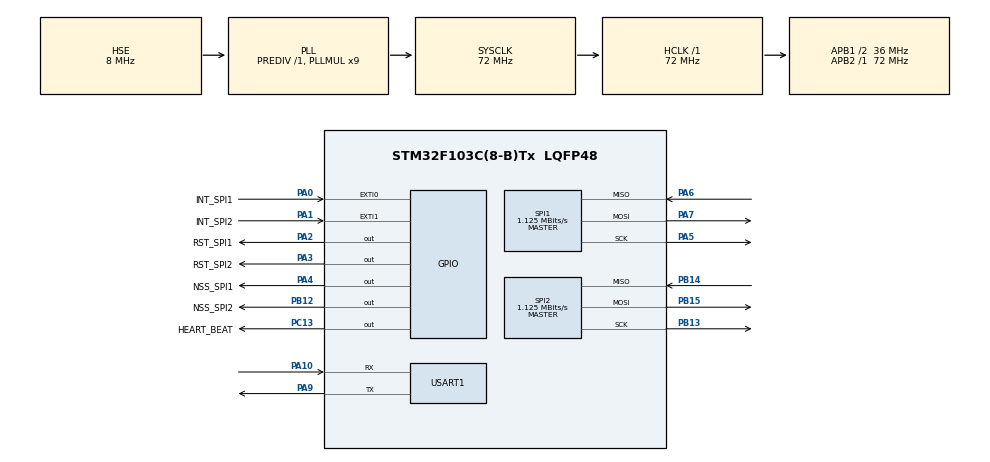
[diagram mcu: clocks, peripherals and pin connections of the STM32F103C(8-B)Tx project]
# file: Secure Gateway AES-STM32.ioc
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Dma.Request0=SPI1_RX
Dma.Request1=SPI1_TX
Dma.Request2=SPI2_RX
Dma.Request3=SPI2_TX
Dma.SPI1_RX.0.Direction=DMA_PERIPH_TO_MEMORY
Dma.SPI1_RX.0.Instance=DMA1_Channel2
Dma.SPI1_RX.0.MemDataAlignment=DMA_MDATAALIGN_BYTE
Dma.SPI1_RX.0.MemInc=DMA_MINC_ENABLE
Dma.SPI1_RX.0.Mode=DMA_NORMAL
Dma.SPI1_RX.0.PeriphDataAlignment=DMA_PDATAALIGN_BYTE
Dma.SPI1_RX.0.PeriphInc=DMA_PINC_DISABLE
Dma.SPI1_RX.0.Priority=DMA_PRIORITY_VERY_HIGH
Dma.SPI1_TX.1.Direction=DMA_MEMORY_TO_PERIPH
Dma.SPI1_TX.1.Instance=DMA1_Channel3
Dma.SPI1_TX.1.MemDataAlignment=DMA_MDATAALIGN_BYTE
Dma.SPI1_TX.1.MemInc=DMA_MINC_ENABLE
Dma.SPI1_TX.1.Mode=DMA_NORMAL
Dma.SPI1_TX.1.PeriphDataAlignment=DMA_PDATAALIGN_BYTE
Dma.SPI1_TX.1.PeriphInc=DMA_PINC_DISABLE
Dma.SPI1_TX.1.Priority=DMA_PRIORITY_HIGH
Dma.SPI2_RX.2.Direction=DMA_PERIPH_TO_MEMORY
Dma.SPI2_RX.2.Instance=DMA1_Channel4
Dma.SPI2_RX.2.MemDataAlignment=DMA_MDATAALIGN_BYTE
Dma.SPI2_RX.2.MemInc=DMA_MINC_ENABLE
Dma.SPI2_RX.2.Mode=DMA_NORMAL
Dma.SPI2_RX.2.PeriphDataAlignment=DMA_PDATAALIGN_BYTE
Dma.SPI2_RX.2.PeriphInc=DMA_PINC_DISABLE
Dma.SPI2_RX.2.Priority=DMA_PRIORITY_VERY_HIGH
Dma.SPI2_TX.3.Direction=DMA_MEMORY_TO_PERIPH
Dma.SPI2_TX.3.Instance=DMA1_Channel5
Dma.SPI2_TX.3.MemDataAlignment=DMA_MDATAALIGN_BYTE
Dma.SPI2_TX.3.MemInc=DMA_MINC_ENABLE
Dma.SPI2_TX.3.Mode=DMA_NORMAL
Dma.SPI2_TX.3.PeriphDataAlignment=DMA_PDATAALIGN_BYTE
Dma.SPI2_TX.3.PeriphInc=DMA_PINC_DISABLE
Dma.SPI2_TX.3.Priority=DMA_PRIORITY_HIGH
FREERTOS.Queues01=xRX_Queue,6,uint32_t,0,Static,xRX_QueueBuffer,xRX_QueueControlBlock;xTX_SPI1_Queue,2,uint32_t,0,Static,xTX_SPI1_QueueBuffer,xTX_QueueControlBlock;xTX_SPI2_Queue,2,uint32_t,0,Static,xTX_SPI2_QueueBuffer,xTX_SPI2_QueueControlBlock
FREERTOS.Tasks01=defaultTask,-2,128,StartDefaultTask,Default,NULL,Dynamic,NULL,NULL;vRX_SPI1_Task,2,256,vRX_SPI1_TaskFunc,Default,NULL,Static,vRX_SPI1_TaskBuffer,vRX_SPI1_TaskControlBlock;vRX_SPI2_Task,2,256,vRX_SPI2_TaskFunc,Default,NULL,Static,vRX_SPI2_TaskBuffer,vRX_SPI2_TaskControlBlock;vTX_SPI1_Task,1,256,vTX_SPI1_TaskFunc,Default,NULL,Static,vTX_TaskBuffer,vTX_TaskControlBlock;vPacket_Processing_Task,0,512,vPacket_Processing_TaskFunc,Default,NULL,Static,vPacket_Processing_TaskBuffer,vPacket_Processing_TaskControlBlock;vHearbeat_Task,-2,128,vHeartbeat_TaskFunc,Default,NULL,Static,vHearbeat_TaskBuffer,vHearbeat_TaskControlBlock;vTX_SPI2_Task,1,256,vTX_SPI2_TaskFunc,Default,NULL,Static,vTX_SPI2_TaskBuffer,vTX_SPI2_TaskControlBlock
FREERTOS.configMAX_PRIORITIES=7
FREERTOS.configMAX_TASK_NAME_LEN=30
FREERTOS.configTOTAL_HEAP_SIZE=1024
FREERTOS.configUSE_NEWLIB_REENTRANT=1
IWDG.Prescaler=IWDG_PRESCALER_64
IWDG.Reload=1874
Mcu.Family=STM32F1
Mcu.Name=STM32F103C(8-B)Tx
Mcu.Package=LQFP48
NVIC.DMA1_Channel2_IRQn=true\:5\:0\:true\:false\:true\:true\:false\:true\:true
NVIC.DMA1_Channel3_IRQn=true\:6\:0\:true\:false\:true\:true\:false\:true\:true
NVIC.DMA1_Channel4_IRQn=true\:5\:0\:false\:false\:true\:true\:false\:true\:true
NVIC.DMA1_Channel5_IRQn=true\:6\:0\:true\:false\:true\:true\:false\:true\:true
NVIC.EXTI0_IRQn=true\:5\:0\:false\:false\:true\:true\:true\:true\:true
NVIC.EXTI1_IRQn=true\:5\:0\:false\:false\:true\:true\:true\:true\:true
NVIC.PriorityGroup=NVIC_PRIORITYGROUP_4
NVIC.TIM4_IRQn=true\:15\:0\:true\:false\:true\:false\:false\:true\:true
NVIC.TimeBase=TIM4_IRQn
NVIC.TimeBaseIP=TIM4
PA0-WKUP.GPIO_Label=INT_SPI1
PA0-WKUP.GPIO_ModeDefaultEXTI=GPIO_MODE_IT_FALLING
PA0-WKUP.GPIO_PuPd=GPIO_PULLUP
PA0-WKUP.Signal=GPXTI0
PA1.GPIO_Label=INT_SPI2
PA1.GPIO_ModeDefaultEXTI=GPIO_MODE_IT_FALLING
PA1.GPIO_PuPd=GPIO_PULLUP
PA1.Signal=GPXTI1
PA10.Mode=Asynchronous
PA10.Signal=USART1_RX
PA13.Mode=Serial_Wire
PA13.Signal=SYS_JTMS-SWDIO
PA14.Mode=Serial_Wire
PA14.Signal=SYS_JTCK-SWCLK
PA2.GPIO_Label=RST_SPI1
PA2.PinState=GPIO_PIN_SET
PA2.Signal=GPIO_Output
PA3.GPIO_Label=RST_SPI2
PA3.PinState=GPIO_PIN_SET
PA3.Signal=GPIO_Output
PA4.GPIO_Label=NSS_SPI1
PA4.PinState=GPIO_PIN_SET
PA4.Signal=GPIO_Output
PA5.Mode=Full_Duplex_Master
PA5.Signal=SPI1_SCK
PA6.Mode=Full_Duplex_Master
PA6.Signal=SPI1_MISO
PA7.Mode=Full_Duplex_Master
PA7.Signal=SPI1_MOSI
PA9.Mode=Asynchronous
PA9.Signal=USART1_TX
PB12.GPIO_Label=NSS_SPI2
PB12.PinState=GPIO_PIN_SET
PB12.Signal=GPIO_Output
PB13.Mode=Full_Duplex_Master
PB13.Signal=SPI2_SCK
PB14.Mode=Full_Duplex_Master
PB14.Signal=SPI2_MISO
PB15.Mode=Full_Duplex_Master
PB15.Signal=SPI2_MOSI
PC13-TAMPER-RTC.GPIO_Label=HEART_BEAT
PC13-TAMPER-RTC.PinState=GPIO_PIN_SET
PC13-TAMPER-RTC.Signal=GPIO_Output
PD0-OSC_IN.Mode=HSE-External-Oscillator
PD0-OSC_IN.Signal=RCC_OSC_IN
PD1-OSC_OUT.Mode=HSE-External-Oscillator
PD1-OSC_OUT.Signal=RCC_OSC_OUT
ProjectManager.HeapSize=0x200
ProjectManager.StackSize=0x400
ProjectManager.TargetToolchain=STM32CubeIDE
RCC.AHBFreq_Value=72000000
RCC.APB1CLKDivider=RCC_HCLK_DIV2
RCC.APB1Freq_Value=36000000
RCC.APB1TimFreq_Value=72000000
RCC.APB2Freq_Value=72000000
RCC.APB2TimFreq_Value=72000000
RCC.HCLKFreq_Value=72000000
RCC.PLLMUL=RCC_PLL_MUL9
RCC.PLLSourceVirtual=RCC_PLLSOURCE_HSE
RCC.SYSCLKFreq_VALUE=72000000
RCC.SYSCLKSource=RCC_SYSCLKSOURCE_PLLCLK
RCC.USBFreq_Value=72000000
SPI1.BaudRatePrescaler=SPI_BAUDRATEPRESCALER_64
SPI1.CalculateBaudRate=1.125 MBits/s
SPI1.Direction=SPI_DIRECTION_2LINES
SPI1.Mode=SPI_MODE_MASTER
SPI1.VirtualType=VM_MASTER
SPI2.BaudRatePrescaler=SPI_BAUDRATEPRESCALER_32
SPI2.CalculateBaudRate=1.125 MBits/s
SPI2.Direction=SPI_DIRECTION_2LINES
SPI2.Mode=SPI_MODE_MASTER
SPI2.VirtualType=VM_MASTER
USART1.VirtualMode=VM_ASYNC
VP_FREERTOS_VS_CMSIS_V1.Mode=CMSIS_V1
VP_IWDG_VS_IWDG.Mode=IWDG_Activate
VP_SYS_VS_tim4.Mode=TIM4
board=custom

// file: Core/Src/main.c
/* USER CODE BEGIN Header */
/**
  ******************************************************************************
  * @file           : main.c
  * @brief          : Main program body
  ******************************************************************************
  * @attention
  *
  * Copyright (c) 2026 STMicroelectronics.
  * All rights reserved.
  *
  * This software is licensed under terms that can be found in the LICENSE file
  * in the root directory of this software component.
  * If no LICENSE file comes with this software, it is provided AS-IS.
  *
  ******************************************************************************
  */
/* USER CODE END Header */
#include "main.h"
#include "cmsis_os.h"

/* USER CODE BEGIN Includes */
#include "enc28j60_driver.h"
#include "buffer_pool.h"
#include "aes.h"
#include "string.h"
#include "stdio.h"
#include "FreeRTOS.h"
#include "debug_log.h"
/* USER CODE END Includes */

/* USER CODE BEGIN PTD */
typedef struct {
	uint8_t ip[4];
	uint8_t key[16];
} IP_Key_Map;
/* USER CODE END PTD */

/* USER CODE BEGIN PD */
const IP_Key_Map key_table[] = {
		{{192, 168, 5, 2}, {0x00, 0x01, 0x02, 0x03, 0x04, 0x05, 0x06, 0x07, 0x08, 0x09, 0x0A, 0x0B, 0x0C, 0x0D, 0x0E, 0x0F}},
		{{192, 168, 5, 10}, {0x00, 0x10, 0x20, 0x30, 0x40, 0x50, 0x60, 0x70, 0x80, 0x90, 0xA0, 0xB0, 0xC0, 0xD0, 0xE0, 0xF0}}
};

#define KEY_TABLE_SIZE (sizeof(key_table)/sizeof(IP_Key_Map))

#define PAYLOAD_MAX_SIZE 512
#define RX_QUEUE_LENGTH 6
#define TX_QUEUE_LENGTH 4
#define RX_BURST_LIMIT 6
#define ETH_HEADER_LEN 14
#define ARP_MIN_FRAME_LEN 42
#define IPV4_MIN_FRAME_LEN 34
#define PKT_MIN_LEN 60

#define TASK_ALIVE_RX1 (1 << 0)
#define TASK_ALIVE_RX2 (1 << 1)
#define TASK_ALIVE_AES (1 << 2)
#define TASK_ALIVE_TX1 (1 << 3)
#define TASK_ALIVE_TX2 (1 << 4)

 #define TASK_ALIVE_ALL (TASK_ALIVE_RX1 | TASK_ALIVE_RX2 | TASK_ALIVE_AES | TASK_ALIVE_TX1 | TASK_ALIVE_TX2)
/* USER CODE END PD */

IWDG_HandleTypeDef hiwdg;

SPI_HandleTypeDef hspi1;
SPI_HandleTypeDef hspi2;
DMA_HandleTypeDef hdma_spi1_rx;
DMA_HandleTypeDef hdma_spi1_tx;
DMA_HandleTypeDef hdma_spi2_rx;
DMA_HandleTypeDef hdma_spi2_tx;

UART_HandleTypeDef huart1;

osThreadId defaultTaskHandle;
osThreadId vRX_SPI1_TaskHandle;
uint32_t vRX_SPI1_TaskBuffer[ 256 ];
osStaticThreadDef_t vRX_SPI1_TaskControlBlock;
osThreadId vRX_SPI2_TaskHandle;
uint32_t vRX_SPI2_TaskBuffer[ 256 ];
osStaticThreadDef_t vRX_SPI2_TaskControlBlock;
osThreadId vTX_SPI1_TaskHandle;
uint32_t vTX_TaskBuffer[ 256 ];
osStaticThreadDef_t vTX_TaskControlBlock;
osThreadId vPacket_Processing_TaskHandle;
uint32_t vPacket_Processing_TaskBuffer[ 512 ];
osStaticThreadDef_t vPacket_Processing_TaskControlBlock;
osThreadId vHearbeat_TaskHandle;
uint32_t vHearbeat_TaskBuffer[ 128 ];
osStaticThreadDef_t vHearbeat_TaskControlBlock;
osThreadId vTX_SPI2_TaskHandle;
uint32_t vTX_SPI2_TaskBuffer[ 256 ];
osStaticThreadDef_t vTX_SPI2_TaskControlBlock;
osMessageQId xRX_QueueHandle;
uint8_t xRX_QueueBuffer[ 6 * sizeof( uint32_t ) ];
osStaticMessageQDef_t xRX_QueueControlBlock;
osMessageQId xTX_SPI1_QueueHandle;
uint8_t xTX_SPI1_QueueBuffer[ 2 * sizeof( uint32_t ) ];
osStaticMessageQDef_t xTX_QueueControlBlock;
osMessageQId xTX_SPI2_QueueHandle;
uint8_t xTX_SPI2_QueueBuffer[ 2 * sizeof( uint32_t ) ];
osStaticMessageQDef_t xTX_SPI2_QueueControlBlock;
/* USER CODE BEGIN PV */
// Semaphore
osSemaphoreId xSem_DMA_SPI1_Done;
osSemaphoreId xSem_DMA_SPI2_Done;
osSemaphoreId xSem_INT_SPI1;
osSemaphoreId xSem_INT_SPI2;

// Mutex
osMutexId dev1_mutex;
osMutexId dev2_mutex;
osMutexId pool_mutex;
osMutexId uart_mutex;

// Alive flag
volatile uint8_t task_alive_flags = 0;
volatile uint8_t is_init_done = 0;

volatile uint32_t diag_rx1_packets = 0;
volatile uint32_t diag_rx2_packets = 0;
volatile uint32_t diag_tx1_packets = 0;
volatile uint32_t diag_tx2_packets = 0;
volatile uint32_t diag_arp_packets = 0;
volatile uint32_t diag_icmp_packets = 0;
volatile uint32_t diag_drop_packets = 0;
volatile uint32_t diag_link1_up = 0;
volatile uint32_t diag_link2_up = 0;
volatile uint32_t diag_arp_rx1 = 0;
volatile uint32_t diag_arp_rx2 = 0;
volatile uint32_t diag_icmp_rx1 = 0;
volatile uint32_t diag_icmp_rx2 = 0;
volatile uint32_t diag_arp1_opcode = 0;
volatile uint32_t diag_arp1_sender_ip = 0;
volatile uint32_t diag_arp1_target_ip = 0;
volatile uint32_t diag_arp2_opcode = 0;
volatile uint32_t diag_arp2_sender_ip = 0;
volatile uint32_t diag_arp2_target_ip = 0;

extern volatile uint32_t diag_enc_tx_fail_reason;
extern volatile uint32_t diag_enc_tx_abort;
extern volatile uint32_t diag_enc_tx_timeout;
extern volatile uint32_t diag_enc_fail_reason;
extern volatile uint32_t diag_enc_next_ptr;
extern volatile uint32_t diag_enc_rx_len;
extern volatile uint32_t diag_enc_rxstat;
/* USER CODE END PV */

void SystemClock_Config(void);
static void MX_GPIO_Init(void);
static void MX_DMA_Init(void);
static void MX_SPI1_Init(void);
static void MX_SPI2_Init(void);
static void MX_IWDG_Init(void);
static void MX_USART1_UART_Init(void);
void StartDefaultTask(void const * argument);
void vRX_SPI1_TaskFunc(void const * argument);
void vRX_SPI2_TaskFunc(void const * argument);
void vTX_SPI1_TaskFunc(void const * argument);
void vPacket_Processing_TaskFunc(void const * argument);
void vHeartbeat_TaskFunc(void const * argument);
void vTX_SPI2_TaskFunc(void const * argument);

/* USER CODE BEGIN PFP */
void RX_HandlePacket(ENC28J60_Config *dev, uint8_t source_dev);
void Update_Ip_Checksum(PacketBuffer *packet, uint8_t ip_header_length);
void User_Init(void);
int _write(int file, char *ptr, int len);
/* USER CODE END PFP */

/* USER CODE BEGIN 0 */
extern ENC28J60_Config dev1;
extern ENC28J60_Config dev2;

// Local MAC address
uint8_t mac1_addr[6] = {0x02, 0x00, 0x00, 0x00, 0x00, 0x01};
uint8_t mac2_addr[6] = {0x02, 0x00, 0x00, 0x00, 0x00, 0x02};

uint8_t link_down_count_dev1 = 0;
uint8_t link_down_count_dev2 = 0;

void RX_HandlePacket(ENC28J60_Config *dev, uint8_t source_spi) {
	// Request buffer from pool (if the pool is full, skip packet)
	PacketBuffer *buffer = BufferPool_Acquire();
	if (buffer == NULL) {
		diag_drop_packets++;
		// Read and discard packet from the chip
		LOG_W("dev%u: buffer pool EMPTY — packet dropped", source_spi);
		ENC28J60_DropPacket(dev);
		return;
	}

	// Read the packet from ENC28J60 to buffer
	uint16_t length = ENC28J60_ReceivePacket(dev, buffer->data, BUFFER_SIZE);

	if (length < PKT_MIN_LEN || length > BUFFER_SIZE) {
		diag_drop_packets++;
        LOG_W("dev%u: bad RX length=%u (min=%u max=%u) — dropped",
              source_spi, length, PKT_MIN_LEN, BUFFER_SIZE);
		BufferPool_Release(buffer);
		return;
	}

	// Write metadata into buffer
	buffer->length = length;
	buffer->source_spi = source_spi;
	if (source_spi == 1) {
		diag_rx1_packets++;
	} else if (source_spi == 2) {
		diag_rx2_packets++;
	}

	// Place the buffer pointer into xRX_Queue
	if (osMessagePut(xRX_QueueHandle, (uint32_t)buffer, 0) != osOK) {
		diag_drop_packets++;
		LOG_W("dev%u: RX queue FULL — packet len=%u dropped", source_spi, length);
		BufferPool_Release(buffer);
		return;
	}
	LOG_D("dev%u: RX len=%u OK", source_spi, length);
}

void Update_Ip_Checksum(PacketBuffer *packet, uint8_t ip_header_length) {
	  uint16_t udp_length = packet->length - 14 - ip_header_length;
	  uint16_t udp_length_offset = 14 + ip_header_length + 4;
	  // Update UDP Length
	  packet->data[udp_length_offset] = (uint8_t)((udp_length >> 8) & 0xFF);
	  packet->data[udp_length_offset + 1] = (uint8_t)(udp_length & 0xFF);

	  // Update the new total length into the header (offset 16-17)
	  uint16_t total_length = packet->length - 14; // Skip Ethernet header
	  packet->data[16] = (uint8_t)((total_length >> 8) & 0xFF);
	  packet->data[17] = (uint8_t)(total_length & 0xFF);

	  // Remove the old Checksum (offset 24-25)
	  packet->data[24] = 0x00;
	  packet->data[25] = 0x00;

	  // Calculate sum (16-bit)
	  uint32_t sum = 0;
	  for (int i = 14; i < 14 + ip_header_length; i += 2) {
		  sum += (packet->data[i] << 8) | packet->data[i + 1];
	  }

	  while (sum >> 16) {
		  sum = (sum & 0xFFFF) + (sum >> 16);
	  }

	  uint16_t final_checksum = (uint16_t)(~sum);
	  packet->data[24] = (final_checksum >> 8) & 0xFF;
	  packet->data[25] = final_checksum & 0xFF;

	  // UDP Checksum (Set to 0 to bypass)
	  uint16_t udp_checksum_offset = 14 + ip_header_length + 6;
	  packet->data[udp_checksum_offset] = 0x00;
	  packet->data[udp_checksum_offset + 1] = 0x00;
}

void User_Init() {
	// Initialize ENC28J60 1 and 2
	LOG_I("ENC28J60 #1 init...");
	uint8_t attempts = 0;
	while (ENC28J60_Init(&dev1, mac1_addr) == 0) {
		attempts++;
		LOG_W("ENC28J60 #1 init FAIL (attempt %u), retrying...", attempts);
		osDelay(100);
	}
    LOG_I("ENC28J60 #1 init OK (EREVID=%u)", ENC28J60_ReadReg(&dev1, EREVID));

    LOG_I("ENC28J60 #2 init...");
    attempts = 0;
	while (ENC28J60_Init(&dev2, mac2_addr) == 0) {
        attempts++;
        LOG_W("ENC28J60 #2 init FAIL (attempt %u), retrying...", attempts);
		osDelay(100);
	}
	LOG_I("ENC28J60 #2 init OK (EREVID=%u)", ENC28J60_ReadReg(&dev2, EREVID));

	BufferPool_Init();
	LOG_I("Buffer pool init OK (%u slots x %u bytes)", BUFFER_POOL_SIZE, BUFFER_SIZE);
}

int _write(int file, char *ptr, int len) {
	HAL_UART_Transmit(&huart1, (uint8_t*)ptr, len, HAL_MAX_DELAY);
	return len;
}
/* USER CODE END 0 */

int main(void)
{

  /* MCU Configuration--------------------------------------------------------*/

  /* Reset of all peripherals, Initializes the Flash interface and the Systick. */
  HAL_Init();

  /* USER CODE BEGIN Init */
  DebugLog_Init(&uart_mutex);
  /* USER CODE END Init */

  /* Configure the system clock */
  SystemClock_Config();

  /* Initialize all configured peripherals */
  MX_GPIO_Init();
  MX_DMA_Init();
  MX_SPI1_Init();
  MX_SPI2_Init();
  MX_IWDG_Init();
  MX_USART1_UART_Init();

  /* USER CODE BEGIN RTOS_MUTEX */
  /* add mutexes, ... */
  osMutexDef(dev1_mutex_def);
  osMutexDef(dev2_mutex_def);
  osMutexDef(pool_mutex_def);
  osMutexDef(uart_mutex_def);

  dev1_mutex = osMutexCreate(osMutex(dev1_mutex_def));
  dev2_mutex = osMutexCreate(osMutex(dev2_mutex_def));
  pool_mutex = osMutexCreate(osMutex(pool_mutex_def));
  uart_mutex = osMutexCreate(osMutex(uart_mutex_def));
  /* USER CODE END RTOS_MUTEX */

  /* USER CODE BEGIN RTOS_SEMAPHORES */
  osSemaphoreDef(xSem_DMA_SPI1_Done_Def);
  osSemaphoreDef(xSem_DMA_SPI2_Done_Def);
  osSemaphoreDef(xSem_INT_SPI1_Def);
  osSemaphoreDef(xSem_INT_SPI2_Def);

  xSem_DMA_SPI1_Done = osSemaphoreCreate(osSemaphore(xSem_DMA_SPI1_Done_Def), 1);
  xSem_DMA_SPI2_Done = osSemaphoreCreate(osSemaphore(xSem_DMA_SPI2_Done_Def), 1);
  xSem_INT_SPI1 = osSemaphoreCreate(osSemaphore(xSem_INT_SPI1_Def), 1);
  xSem_INT_SPI2 = osSemaphoreCreate(osSemaphore(xSem_INT_SPI2_Def), 1);
  /* USER CODE END RTOS_SEMAPHORES */

  /* Create the queue(s) */
  /* definition and creation of xRX_Queue */
  osMessageQStaticDef(xRX_Queue, 6, uint32_t, xRX_QueueBuffer, &xRX_QueueControlBlock);
  xRX_QueueHandle = osMessageCreate(osMessageQ(xRX_Queue), NULL);

  /* definition and creation of xTX_SPI1_Queue */
  osMessageQStaticDef(xTX_SPI1_Queue, 2, uint32_t, xTX_SPI1_QueueBuffer, &xTX_QueueControlBlock);
  xTX_SPI1_QueueHandle = osMessageCreate(osMessageQ(xTX_SPI1_Queue), NULL);

  /* definition and creation of xTX_SPI2_Queue */
  osMessageQStaticDef(xTX_SPI2_Queue, 2, uint32_t, xTX_SPI2_QueueBuffer, &xTX_SPI2_QueueControlBlock);
  xTX_SPI2_QueueHandle = osMessageCreate(osMessageQ(xTX_SPI2_Queue), NULL);

  /* Create the thread(s) */
  /* definition and creation of defaultTask */
  osThreadDef(defaultTask, StartDefaultTask, osPriorityLow, 0, 128);
  defaultTaskHandle = osThreadCreate(osThread(defaultTask), NULL);

  /* definition and creation of vRX_SPI1_Task */
  osThreadStaticDef(vRX_SPI1_Task, vRX_SPI1_TaskFunc, osPriorityHigh, 0, 256, vRX_SPI1_TaskBuffer, &vRX_SPI1_TaskControlBlock);
  vRX_SPI1_TaskHandle = osThreadCreate(osThread(vRX_SPI1_Task), NULL);

  /* definition and creation of vRX_SPI2_Task */
  osThreadStaticDef(vRX_SPI2_Task, vRX_SPI2_TaskFunc, osPriorityHigh, 0, 256, vRX_SPI2_TaskBuffer, &vRX_SPI2_TaskControlBlock);
  vRX_SPI2_TaskHandle = osThreadCreate(osThread(vRX_SPI2_Task), NULL);

  /* definition and creation of vTX_SPI1_Task */
  osThreadStaticDef(vTX_SPI1_Task, vTX_SPI1_TaskFunc, osPriorityAboveNormal, 0, 256, vTX_TaskBuffer, &vTX_TaskControlBlock);
  vTX_SPI1_TaskHandle = osThreadCreate(osThread(vTX_SPI1_Task), NULL);

  /* definition and creation of vPacket_Processing_Task */
  osThreadStaticDef(vPacket_Processing_Task, vPacket_Processing_TaskFunc, osPriorityNormal, 0, 512, vPacket_Processing_TaskBuffer, &vPacket_Processing_TaskControlBlock);
  vPacket_Processing_TaskHandle = osThreadCreate(osThread(vPacket_Processing_Task), NULL);

  /* definition and creation of vHearbeat_Task */
  osThreadStaticDef(vHearbeat_Task, vHeartbeat_TaskFunc, osPriorityLow, 0, 128, vHearbeat_TaskBuffer, &vHearbeat_TaskControlBlock);
  vHearbeat_TaskHandle = osThreadCreate(osThread(vHearbeat_Task), NULL);

  /* definition and creation of vTX_SPI2_Task */
  osThreadStaticDef(vTX_SPI2_Task, vTX_SPI2_TaskFunc, osPriorityAboveNormal, 0, 256, vTX_SPI2_TaskBuffer, &vTX_SPI2_TaskControlBlock);
  vTX_SPI2_TaskHandle = osThreadCreate(osThread(vTX_SPI2_Task), NULL);

  /* Start scheduler */
  osKernelStart();

  /* We should never get here as control is now taken by the scheduler */

  /* Infinite loop */
  while (1)
  {

  }
}

void SystemClock_Config(void)
{
  RCC_OscInitTypeDef RCC_OscInitStruct = {0};
  RCC_ClkInitTypeDef RCC_ClkInitStruct = {0};

  /** Initializes the RCC Oscillators according to the specified parameters
  * in the RCC_OscInitTypeDef structure.
  */
  RCC_OscInitStruct.OscillatorType = RCC_OSCILLATORTYPE_LSI|RCC_OSCILLATORTYPE_HSE;
  RCC_OscInitStruct.HSEState = RCC_HSE_ON;
  RCC_OscInitStruct.HSEPredivValue = RCC_HSE_PREDIV_DIV1;
  RCC_OscInitStruct.HSIState = RCC_HSI_ON;
  RCC_OscInitStruct.LSIState = RCC_LSI_ON;
  RCC_OscInitStruct.PLL.PLLState = RCC_PLL_ON;
  RCC_OscInitStruct.PLL.PLLSource = RCC_PLLSOURCE_HSE;
  RCC_OscInitStruct.PLL.PLLMUL = RCC_PLL_MUL9;
  if (HAL_RCC_OscConfig(&RCC_OscInitStruct) != HAL_OK)
  {
    Error_Handler();
  }

  /** Initializes the CPU, AHB and APB buses clocks
  */
  RCC_ClkInitStruct.ClockType = RCC_CLOCKTYPE_HCLK|RCC_CLOCKTYPE_SYSCLK
                              |RCC_CLOCKTYPE_PCLK1|RCC_CLOCKTYPE_PCLK2;
  RCC_ClkInitStruct.SYSCLKSource = RCC_SYSCLKSOURCE_PLLCLK;
  RCC_ClkInitStruct.AHBCLKDivider = RCC_SYSCLK_DIV1;
  RCC_ClkInitStruct.APB1CLKDivider = RCC_HCLK_DIV2;
  RCC_ClkInitStruct.APB2CLKDivider = RCC_HCLK_DIV1;

  if (HAL_RCC_ClockConfig(&RCC_ClkInitStruct, FLASH_LATENCY_2) != HAL_OK)
  {
    Error_Handler();
  }
}

static void MX_IWDG_Init(void)
{

  /* USER CODE BEGIN IWDG_Init 0 */
//
  /* USER CODE END IWDG_Init 0 */

  /* USER CODE BEGIN IWDG_Init 1 */
//
  /* USER CODE END IWDG_Init 1 */
  hiwdg.Instance = IWDG;
  hiwdg.Init.Prescaler = IWDG_PRESCALER_64;
  hiwdg.Init.Reload = 1874;
  if (HAL_IWDG_Init(&hiwdg) != HAL_OK)
  {
    Error_Handler();
  }
  /* USER CODE BEGIN IWDG_Init 2 */
//
  /* USER CODE END IWDG_Init 2 */

}

static void MX_SPI1_Init(void)
{

  /* SPI1 parameter configuration*/
  hspi1.Instance = SPI1;
  hspi1.Init.Mode = SPI_MODE_MASTER;
  hspi1.Init.Direction = SPI_DIRECTION_2LINES;
  hspi1.Init.DataSize = SPI_DATASIZE_8BIT;
  hspi1.Init.CLKPolarity = SPI_POLARITY_LOW;
  hspi1.Init.CLKPhase = SPI_PHASE_1EDGE;
  hspi1.Init.NSS = SPI_NSS_SOFT;
  hspi1.Init.BaudRatePrescaler = SPI_BAUDRATEPRESCALER_64;
  hspi1.Init.FirstBit = SPI_FIRSTBIT_MSB;
  hspi1.Init.TIMode = SPI_TIMODE_DISABLE;
  hspi1.Init.CRCCalculation = SPI_CRCCALCULATION_DISABLE;
  hspi1.Init.CRCPolynomial = 10;
  if (HAL_SPI_Init(&hspi1) != HAL_OK)
  {
    Error_Handler();
  }

}

static void MX_SPI2_Init(void)
{

  /* SPI2 parameter configuration*/
  hspi2.Instance = SPI2;
  hspi2.Init.Mode = SPI_MODE_MASTER;
  hspi2.Init.Direction = SPI_DIRECTION_2LINES;
  hspi2.Init.DataSize = SPI_DATASIZE_8BIT;
  hspi2.Init.CLKPolarity = SPI_POLARITY_LOW;
  hspi2.Init.CLKPhase = SPI_PHASE_1EDGE;
  hspi2.Init.NSS = SPI_NSS_SOFT;
  hspi2.Init.BaudRatePrescaler = SPI_BAUDRATEPRESCALER_32;
  hspi2.Init.FirstBit = SPI_FIRSTBIT_MSB;
  hspi2.Init.TIMode = SPI_TIMODE_DISABLE;
  hspi2.Init.CRCCalculation = SPI_CRCCALCULATION_DISABLE;
  hspi2.Init.CRCPolynomial = 10;
  if (HAL_SPI_Init(&hspi2) != HAL_OK)
  {
    Error_Handler();
  }

}

static void MX_USART1_UART_Init(void)
{

  huart1.Instance = USART1;
  huart1.Init.BaudRate = 115200;
  huart1.Init.WordLength = UART_WORDLENGTH_8B;
  huart1.Init.StopBits = UART_STOPBITS_1;
  huart1.Init.Parity = UART_PARITY_NONE;
  huart1.Init.Mode = UART_MODE_TX_RX;
  huart1.Init.HwFlowCtl = UART_HWCONTROL_NONE;
  huart1.Init.OverSampling = UART_OVERSAMPLING_16;
  if (HAL_UART_Init(&huart1) != HAL_OK)
  {
    Error_Handler();
  }

}

static void MX_DMA_Init(void)
{

  /* DMA controller clock enable */
  __HAL_RCC_DMA1_CLK_ENABLE();

  /* DMA interrupt init */
  /* DMA1_Channel2_IRQn interrupt configuration */
  HAL_NVIC_SetPriority(DMA1_Channel2_IRQn, 5, 0);
  HAL_NVIC_EnableIRQ(DMA1_Channel2_IRQn);
  /* DMA1_Channel3_IRQn interrupt configuration */
  HAL_NVIC_SetPriority(DMA1_Channel3_IRQn, 6, 0);
  HAL_NVIC_EnableIRQ(DMA1_Channel3_IRQn);
  /* DMA1_Channel4_IRQn interrupt configuration */
  HAL_NVIC_SetPriority(DMA1_Channel4_IRQn, 5, 0);
  HAL_NVIC_EnableIRQ(DMA1_Channel4_IRQn);
  /* DMA1_Channel5_IRQn interrupt configuration */
  HAL_NVIC_SetPriority(DMA1_Channel5_IRQn, 6, 0);
  HAL_NVIC_EnableIRQ(DMA1_Channel5_IRQn);

}

static void MX_GPIO_Init(void)
{
  GPIO_InitTypeDef GPIO_InitStruct = {0};

  /* GPIO Ports Clock Enable */
  __HAL_RCC_GPIOC_CLK_ENABLE();
  __HAL_RCC_GPIOD_CLK_ENABLE();
  __HAL_RCC_GPIOA_CLK_ENABLE();
  __HAL_RCC_GPIOB_CLK_ENABLE();

  /*Configure GPIO pin Output Level */
  HAL_GPIO_WritePin(HEART_BEAT_GPIO_Port, HEART_BEAT_Pin, GPIO_PIN_SET);

  /*Configure GPIO pin Output Level */
  HAL_GPIO_WritePin(GPIOA, RST_SPI1_Pin|RST_SPI2_Pin|NSS_SPI1_Pin, GPIO_PIN_SET);

  /*Configure GPIO pin Output Level */
  HAL_GPIO_WritePin(NSS_SPI2_GPIO_Port, NSS_SPI2_Pin, GPIO_PIN_SET);

  /*Configure GPIO pin : HEART_BEAT_Pin */
  GPIO_InitStruct.Pin = HEART_BEAT_Pin;
  GPIO_InitStruct.Mode = GPIO_MODE_OUTPUT_PP;
  GPIO_InitStruct.Pull = GPIO_NOPULL;
  GPIO_InitStruct.Speed = GPIO_SPEED_FREQ_LOW;
  HAL_GPIO_Init(HEART_BEAT_GPIO_Port, &GPIO_InitStruct);

  /*Configure GPIO pins : INT_SPI1_Pin INT_SPI2_Pin */
  GPIO_InitStruct.Pin = INT_SPI1_Pin|INT_SPI2_Pin;
  GPIO_InitStruct.Mode = GPIO_MODE_IT_FALLING;
  GPIO_InitStruct.Pull = GPIO_PULLUP;
  HAL_GPIO_Init(GPIOA, &GPIO_InitStruct);

  /*Configure GPIO pins : RST_SPI1_Pin RST_SPI2_Pin NSS_SPI1_Pin */
  GPIO_InitStruct.Pin = RST_SPI1_Pin|RST_SPI2_Pin|NSS_SPI1_Pin;
  GPIO_InitStruct.Mode = GPIO_MODE_OUTPUT_PP;
  GPIO_InitStruct.Pull = GPIO_NOPULL;
  GPIO_InitStruct.Speed = GPIO_SPEED_FREQ_LOW;
  HAL_GPIO_Init(GPIOA, &GPIO_InitStruct);

  /*Configure GPIO pin : NSS_SPI2_Pin */
  GPIO_InitStruct.Pin = NSS_SPI2_Pin;
  GPIO_InitStruct.Mode = GPIO_MODE_OUTPUT_PP;
  GPIO_InitStruct.Pull = GPIO_NOPULL;
  GPIO_InitStruct.Speed = GPIO_SPEED_FREQ_LOW;
  HAL_GPIO_Init(NSS_SPI2_GPIO_Port, &GPIO_InitStruct);

  /* EXTI interrupt init*/
  HAL_NVIC_SetPriority(EXTI0_IRQn, 5, 0);
  HAL_NVIC_EnableIRQ(EXTI0_IRQn);

  HAL_NVIC_SetPriority(EXTI1_IRQn, 5, 0);
  HAL_NVIC_EnableIRQ(EXTI1_IRQn);

}

void StartDefaultTask(void const * argument)
{
  /* USER CODE BEGIN 5 */
  /* Infinite loop */
  for(;;)
  {
    osDelay(10);
  }
  /* USER CODE END 5 */
}

void vRX_SPI1_TaskFunc(void const * argument)
{
  /* USER CODE BEGIN vRX_SPI1_TaskFunc */
	while (!is_init_done) {
		osDelay(10);
	}
  /* Infinite loop */
  for(;;)
  {
	  // Report to vHeartbeat_Task
//	  taskENTER_CRITICAL();
//	  task_alive_flags |= TASK_ALIVE_RX1;
//	  taskEXIT_CRITICAL();

	  // Wait for interrupt signal from the ENC28J60 1
	  osSemaphoreWait(xSem_INT_SPI1, 50);

	  /* There may be multiple packets in the ENC28J60 buffer -> Read maximum 6 packets before waiting for the next interrupt
	   * Because the ENC28J60 only sends an interrupt even if there are many packets
	   */
	  uint8_t rx_count = 0;

	  while (rx_count < RX_BURST_LIMIT) {
		  if (osMutexWait(dev1_mutex, 50) == osOK) {
			  if (ENC28J60_ReadReg(&dev1, EPKTCNT) > 0) {
				  RX_HandlePacket(&dev1, 1);
				  rx_count++;
				  osMutexRelease(dev1_mutex);
			  } else {
				  osMutexRelease(dev1_mutex);
				  break;
			  }
		  } else {
			  break;
		  }
	  }

	  if (rx_count == RX_BURST_LIMIT) {
	  	  if (osMutexWait(dev1_mutex, 10) == osOK) {
	  		  if (ENC28J60_ReadReg(&dev1, EPKTCNT) > 0) {
	  			  osSemaphoreRelease(xSem_INT_SPI1);
	  		  }
	  		  osMutexRelease(dev1_mutex);
	  	  }
	    }
	    osDelay(1);
  }
  /* USER CODE END vRX_SPI1_TaskFunc */
}

void vRX_SPI2_TaskFunc(void const * argument)
{
  /* USER CODE BEGIN vRX_SPI2_TaskFunc */
	while (!is_init_done) {
		osDelay(10);
	}
  /* Infinite loop */
  for(;;)
  {
//	  taskENTER_CRITICAL();
//	  task_alive_flags |= TASK_ALIVE_RX2;
//	  taskEXIT_CRITICAL();

	  osSemaphoreWait(xSem_INT_SPI2, 50);

	  uint8_t rx_count = 0;
	  while (rx_count < RX_BURST_LIMIT) {
		  if (osMutexWait(dev2_mutex, 50) == osOK) {
			  if (ENC28J60_ReadReg(&dev2, EPKTCNT) > 0) {
				  RX_HandlePacket(&dev2, 2);
				  rx_count++;
				  osMutexRelease(dev2_mutex);
			  } else {
				  osMutexRelease(dev2_mutex);
				  break;
			  }
		  } else {
			  break;
		  }
	  }

	  if (rx_count == RX_BURST_LIMIT) {
		  if (osMutexWait(dev2_mutex, 10) == osOK) {
			  if (ENC28J60_ReadReg(&dev2, EPKTCNT) > 0) {
				  osSemaphoreRelease(xSem_INT_SPI2);
			  }
			  osMutexRelease(dev2_mutex);
		  }
	  }
	  osDelay(1);
  }
  /* USER CODE END vRX_SPI2_TaskFunc */
}

void vTX_SPI1_TaskFunc(void const * argument)
{
  /* USER CODE BEGIN vTX_SPI1_TaskFunc */
	while (!is_init_done) {
		osDelay(10);
	}

	osEvent event;
	PacketBuffer *packet;
  /* Infinite loop */
  for(;;)
  {
//	  taskENTER_CRITICAL();
//	  task_alive_flags |= TASK_ALIVE_TX1;
//	  taskEXIT_CRITICAL();

	  event = osMessageGet(xTX_SPI1_QueueHandle, 50);
	  if (event.status == osEventMessage) {
		  packet = (PacketBuffer*)event.value.p;

		  if (osMutexWait(dev1_mutex, 50) == osOK) {
			  if (ENC28J60_SendPacket(&dev1, packet->data, packet->length)) {
				  diag_tx1_packets++;
			  } else {
				  diag_drop_packets++;
				  LOG_E("dev1 TX FAIL len=%u reason=%lu", packet->length, diag_enc_tx_fail_reason);
			  }
			  osMutexRelease(dev1_mutex);
		  }
		  BufferPool_Release(packet);
	  }
  }
  /* USER CODE END vTX_SPI1_TaskFunc */
}

void vPacket_Processing_TaskFunc(void const * argument)
{
  /* USER CODE BEGIN vPacket_Processing_TaskFunc */
	while (!is_init_done) {
		osDelay(10);
	}
	osEvent event;
	PacketBuffer *packet;
//	static AES_ctx ctx;
  /* Infinite loop */
  for(;;)
  {
//	  taskENTER_CRITICAL();
//	  task_alive_flags |= TASK_ALIVE_AES;
//	  taskEXIT_CRITICAL();

	  event = osMessageGet(xRX_QueueHandle, 50);
	  if (event.status == osEventMessage) {
		  packet = (PacketBuffer*)event.value.p;

		  // Step 1: Parse Ethernet header
		  // Read Ethernet type (offset 12-13)
		  uint16_t ethernet_type = (packet->data[12] << 8) | packet->data[13];

		  // Forward ARP packets
		  if (ethernet_type == 0x0806) {
			  diag_arp_packets++;
			  if (packet->source_spi == 1) {
				  diag_arp_rx1++;
				  diag_arp1_opcode = ((uint32_t)packet->data[20] << 8) | packet->data[21];
				  diag_arp1_sender_ip = ((uint32_t)packet->data[28] << 24) | ((uint32_t)packet->data[29] << 16) | ((uint32_t)packet->data[30] << 8) | packet->data[31];
				  diag_arp1_target_ip = ((uint32_t)packet->data[38] << 24) | ((uint32_t)packet->data[39] << 16) | ((uint32_t)packet->data[40] << 8) | packet->data[41];
			  } else if (packet->source_spi == 2) {
				  diag_arp_rx2++;
				  diag_arp2_opcode = ((uint32_t)packet->data[20] << 8) | packet->data[21];
				  diag_arp2_sender_ip = ((uint32_t)packet->data[28] << 24) | ((uint32_t)packet->data[29] << 16) | ((uint32_t)packet->data[30] << 8) | packet->data[31];
				  diag_arp2_target_ip = ((uint32_t)packet->data[38] << 24) | ((uint32_t)packet->data[39] << 16) | ((uint32_t)packet->data[40] << 8) | packet->data[41];
			  }
			  if (packet->source_spi == 1) {
				  if (osMessagePut(xTX_SPI2_QueueHandle, (uint32_t)packet, 50) != osOK) {
					  diag_drop_packets++;
					  BufferPool_Release(packet);
				  }
			  } else if (packet->source_spi == 2) {
				  if (osMessagePut(xTX_SPI1_QueueHandle, (uint32_t)packet, 50) != osOK) {
					  diag_drop_packets++;
					  BufferPool_Release(packet);
				  }
			  } else {
				  diag_drop_packets++;
				  BufferPool_Release(packet);
			  }
			  continue;
		  } else if (ethernet_type == 0x0800) { // IPv4
			  // Read Flags and Fragment offset (offset 20-21)
			  uint16_t flag_offset = (packet->data[20] << 8) | packet->data[21];

			  // Read protocol (offset 23)
			  uint8_t ip_protocol = packet->data[23];

			  uint16_t real_ip_length = (packet->data[16] << 8) | packet->data[17];
			  if (14 + real_ip_length < packet->length) {
				  packet->length = 14 + real_ip_length;
			  }

			  // Accept ICMP packets (ping)
			  if (ip_protocol == 0x01) {
				  diag_icmp_packets++;
				  if (packet->source_spi == 1) {
					  diag_icmp_rx1++;
				  } else if (packet->source_spi == 2) {
					  diag_icmp_rx2++;
				  }
				  if (packet->source_spi == 1) {
					  if (osMessagePut(xTX_SPI2_QueueHandle, (uint32_t)packet, 50) != osOK) {
						  diag_drop_packets++;
						  BufferPool_Release(packet);
					  }
				  } else if (packet->source_spi == 2) {
					  if (osMessagePut(xTX_SPI1_QueueHandle, (uint32_t)packet, 50) != osOK) {
						  diag_drop_packets++;
						  BufferPool_Release(packet);
					  }
				  } else {
					  diag_drop_packets++;
					  BufferPool_Release(packet);
				  }
				  continue;
			  }

			  // Remove packet if it is not a UDP packet or fragment
			  if (ip_protocol != 0x11 || (flag_offset & 0x3FFF) != 0) {
				  diag_drop_packets++;
				  LOG_D("drop: proto=0x%02X frag=0x%04X src=%u", ip_protocol, flag_offset, packet->source_spi);
				  BufferPool_Release(packet);
				  continue;
			  }
		  } else {
			  diag_drop_packets++;
			  BufferPool_Release(packet);
			  continue;
		  }

		  // Read IHL (Internet Header Length)
		  uint8_t ip_header_length = (packet->data[14] & 0x0F) << 2;
		  // Calculate the length of UDP header (Ethernet header (14), IP header, UDP header)
		  uint16_t udp_payload_offset = 14 + ip_header_length + 8;

		  if ((packet->length - udp_payload_offset) > PAYLOAD_MAX_SIZE || udp_payload_offset >= packet->length) {
			  diag_drop_packets++;
			  LOG_W("drop: UDP payload oor off=%u len=%u src=%u", udp_payload_offset, packet->length, packet->source_spi);
			  BufferPool_Release(packet);
			  continue;
		  }

		  // Step 2: Determine IP key by source
		  uint8_t *source_ip = &packet->data[26];
		  uint8_t *dest_ip = &packet->data[30];

		  uint8_t *found_key = NULL;
		  uint8_t dest_key_found = 0;
		  for (uint8_t i = 0; i < KEY_TABLE_SIZE; i++) {
			  if (memcmp(source_ip, key_table[i].ip, 4) == 0) {
				  found_key = (uint8_t*)key_table[i].key;
				  break;
			  }
		  }

		  for (uint8_t i = 0; i < KEY_TABLE_SIZE; i++) {
			  if (memcmp(dest_ip, key_table[i].ip, 4) == 0) {
				  dest_key_found = 1;
				  break;
			  }
		  }

		  if (found_key == NULL || dest_key_found == 0) {
			  diag_drop_packets++;
			  LOG_W("drop: key not found src_ip=%u.%u.%u.%u",
					 source_ip[0], source_ip[1], source_ip[2], source_ip[3]);
			  BufferPool_Release(packet);
			  continue;
		  }

		  // Step 3: Encrypt payload
//		  uint8_t iv[16] = {0}; // static Initialization Vector
//		  AES_init_ctx_iv(&ctx, found_key, iv);
//
//		  AES_CBC_PKCS7_Encrypt(&ctx, packet, udp_payload_offset);
//
//		  // Step 4: Recalculate checksum and length
//		  Update_Ip_Checksum(packet, ip_header_length);

		  // Step 5: Put into the xTX_Queue
		  if (packet->source_spi == 1) {
			  if (osMessagePut(xTX_SPI2_QueueHandle, (uint32_t)packet, 50) != osOK) {
				  diag_drop_packets++;
				  BufferPool_Release(packet);
			  }
		  } else if (packet->source_spi == 2) {
			  if (osMessagePut(xTX_SPI1_QueueHandle, (uint32_t)packet, 50) != osOK) {
				  diag_drop_packets++;
				  BufferPool_Release(packet);
			  }
		  } else {
			  diag_drop_packets++;
			  LOG_W("drop: TX%u queue full len=%u", (packet->source_spi==1)?2:1, packet->length);
			  BufferPool_Release(packet);
		  }
	  }
  }
  /* USER CODE END vPacket_Processing_TaskFunc */
}

void vHeartbeat_TaskFunc(void const * argument)
{
  /* USER CODE BEGIN vHeartbeat_TaskFunc */
	// HAL_IWDG_Refresh(&hiwdg);
	User_Init();
	LOG_I("Init complete — starting all tasks");
//	MX_IWDG_Init();
//	HAL_IWDG_Refresh(&hiwdg);

	is_init_done = 1;
    static uint8_t prev_link1 = 0xFF, prev_link2 = 0xFF;
    static uint32_t stats_tick = 0;
  /* Infinite loop */
  for(;;)
  {
//	  // Check the status of the Tasks
//	  if ((task_alive_flags & TASK_ALIVE_ALL) == TASK_ALIVE_ALL) {
//		  HAL_IWDG_Refresh(&hiwdg);
//		  taskENTER_CRITICAL();
//		  task_alive_flags = 0;
//		  taskEXIT_CRITICAL();
//	  }

	  // Blink heart led (PC13)
	  HAL_GPIO_TogglePin(HEART_BEAT_GPIO_Port, HEART_BEAT_Pin);

	  // Monitor the current link status of Module 1 (SPI1)
      if (osMutexWait(dev1_mutex, 50) == osOK) {
          uint16_t phstat2_1 = ENC28J60_ReadPhy(&dev1, PHSTAT2);
          uint8_t  link1_now = (phstat2_1 & PHSTAT2_LSTAT) ? 1 : 0;
          if (link1_now != prev_link1) {
              LOG_I("dev1 LINK %s", link1_now ? "UP" : "DOWN");
              prev_link1 = link1_now;
          }
          diag_link1_up = link1_now;
          if (!link1_now) {
              link_down_count_dev1++;
              if (link_down_count_dev1 >= 8) {
                  LOG_W("dev1 link down 4s — reinitializing...");
                  if (ENC28J60_Init(&dev1, mac1_addr) == 1) {
                      LOG_I("dev1 reinit OK");
                      link_down_count_dev1 = 0;
                  } else {
                      LOG_E("dev1 reinit FAIL");
                  }
              }
          } else {
              link_down_count_dev1 = 0;
          }
          osMutexRelease(dev1_mutex);
      }

	  // Monitor the current link status of Module 2 (SPI2)
      if (osMutexWait(dev2_mutex, 50) == osOK) {
          uint16_t phstat2_2 = ENC28J60_ReadPhy(&dev2, PHSTAT2);
          uint8_t  link2_now = (phstat2_2 & PHSTAT2_LSTAT) ? 1 : 0;
          if (link2_now != prev_link2) {
              LOG_I("dev2 LINK %s", link2_now ? "UP" : "DOWN");
              prev_link2 = link2_now;
          }
          diag_link2_up = link2_now;
          if (!link2_now) {
              link_down_count_dev2++;
              if (link_down_count_dev2 >= 8) {
                  LOG_W("dev2 link down 4s — reinitializing...");
                  if (ENC28J60_Init(&dev2, mac2_addr) == 1) {
                      LOG_I("dev2 reinit OK");
                      link_down_count_dev2 = 0;
                  } else {
                      LOG_E("dev2 reinit FAIL");
                  }
              }
          } else {
              link_down_count_dev2 = 0;
          }
          osMutexRelease(dev2_mutex);
      }

      if (HAL_GetTick() - stats_tick >= 5000) {
          stats_tick = HAL_GetTick();
          DebugLog_PrintStats();
      }

    osDelay(500);
  }
  /* USER CODE END vHeartbeat_TaskFunc */
}

void vTX_SPI2_TaskFunc(void const * argument)
{
  /* USER CODE BEGIN vTX_SPI2_TaskFunc */
	while (!is_init_done) {
		osDelay(10);
	}
	osEvent event;
	PacketBuffer *packet;
  /* Infinite loop */
  for(;;)
  {
//	  taskENTER_CRITICAL();
//	  task_alive_flags |= TASK_ALIVE_TX1;
//	  taskEXIT_CRITICAL();

	  event = osMessageGet(xTX_SPI2_QueueHandle, 50);
	  if (event.status == osEventMessage) {
		  packet = (PacketBuffer*)event.value.p;

		  if (osMutexWait(dev2_mutex, 50) == osOK) {
			  if (ENC28J60_SendPacket(&dev2, packet->data, packet->length)) {
				  diag_tx2_packets++;
			  } else {
				  diag_drop_packets++;
				  LOG_E("dev1 TX FAIL len=%u reason=%lu", packet->length, diag_enc_tx_fail_reason);
			  }
			  osMutexRelease(dev2_mutex);
		  }
		  BufferPool_Release(packet);
	  }

  }
  /* USER CODE END vTX_SPI2_TaskFunc */
}

void HAL_TIM_PeriodElapsedCallback(TIM_HandleTypeDef *htim)
{
  if (htim->Instance == TIM4)
  {
    HAL_IncTick();
  }
}

void Error_Handler(void)
{
  __disable_irq();
  while (1)
  {
  }
}

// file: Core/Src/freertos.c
/* USER CODE BEGIN Header */
/**
  ******************************************************************************
  * File Name          : freertos.c
  * Description        : Code for freertos applications
  ******************************************************************************
  * @attention
  *
  * Copyright (c) 2026 STMicroelectronics.
  * All rights reserved.
  *
  * This software is licensed under terms that can be found in the LICENSE file
  * in the root directory of this software component.
  * If no LICENSE file comes with this software, it is provided AS-IS.
  *
  ******************************************************************************
  */
/* USER CODE END Header */

#include "FreeRTOS.h"
#include "task.h"
#include "main.h"

/* USER CODE BEGIN Includes */
#include "buffer_pool.h"
#include "enc28j60_driver.h"
/* USER CODE END Includes */

/* USER CODE BEGIN Variables */
extern osSemaphoreId xSem_INT_SPI1;
extern osSemaphoreId xSem_INT_SPI2;
extern osSemaphoreId xSem_DMA_SPI1_Done;
extern osSemaphoreId xSem_DMA_SPI2_Done;
/* USER CODE END Variables */

/* GetIdleTaskMemory prototype (linked to static allocation support) */
void vApplicationGetIdleTaskMemory( StaticTask_t **ppxIdleTaskTCBBuffer, StackType_t **ppxIdleTaskStackBuffer, uint32_t *pulIdleTaskStackSize );

/* USER CODE BEGIN GET_IDLE_TASK_MEMORY */
static StaticTask_t xIdleTaskTCBBuffer;
static StackType_t xIdleStack[configMINIMAL_STACK_SIZE];

void vApplicationGetIdleTaskMemory( StaticTask_t **ppxIdleTaskTCBBuffer, StackType_t **ppxIdleTaskStackBuffer, uint32_t *pulIdleTaskStackSize )
{
  *ppxIdleTaskTCBBuffer = &xIdleTaskTCBBuffer;
  *ppxIdleTaskStackBuffer = &xIdleStack[0];
  *pulIdleTaskStackSize = configMINIMAL_STACK_SIZE;
  /* place for user code */
}
/* USER CODE END GET_IDLE_TASK_MEMORY */

/* USER CODE BEGIN Application */
// EXTI Callback - automatically called by HAL when ENC28J60 pulls the INT pin to low to indicate a new packet
void HAL_GPIO_EXTI_Callback(uint16_t GPIO_Pin) {
	BaseType_t xHigherPriorityTaskWoken = pdFALSE;

	if (GPIO_Pin == GPIO_PIN_0) {
		// Wake up vRX_SPI1_Task
		if (xSem_INT_SPI1 != NULL) xSemaphoreGiveFromISR(xSem_INT_SPI1, &xHigherPriorityTaskWoken);
	} else if (GPIO_Pin == GPIO_PIN_1) {
		// Wake up vRX_SPI2_Task
		if (xSem_INT_SPI2 != NULL) xSemaphoreGiveFromISR(xSem_INT_SPI2, &xHigherPriorityTaskWoken);
	}

	// Wake up the higher priority task
	if (xHigherPriorityTaskWoken == pdTRUE) portYIELD_FROM_ISR(xHigherPriorityTaskWoken);
}
// The automatic callback is invoked when the DMA is complete
void HAL_SPI_TxRxCpltCallback(SPI_HandleTypeDef *hspi) {
	BaseType_t xHigherPriorityTaskWoken = pdFALSE;

	if (hspi->Instance == SPI1) {
		if (xSem_DMA_SPI1_Done != NULL) xSemaphoreGiveFromISR(xSem_DMA_SPI1_Done, &xHigherPriorityTaskWoken);
	} else if (hspi->Instance == SPI2) {
		if (xSem_DMA_SPI2_Done != NULL) xSemaphoreGiveFromISR(xSem_DMA_SPI2_Done, &xHigherPriorityTaskWoken);
	}

	if (xHigherPriorityTaskWoken == pdTRUE) portYIELD_FROM_ISR(xHigherPriorityTaskWoken);
}

void HAL_SPI_TxCpltCallback(SPI_HandleTypeDef *hspi) {
	BaseType_t xHigherPriorityTaskWoken = pdFALSE;

	if (hspi->Instance == SPI1) {
		if (xSem_DMA_SPI1_Done != NULL) xSemaphoreGiveFromISR(xSem_DMA_SPI1_Done, &xHigherPriorityTaskWoken);
	} else if (hspi->Instance == SPI2) {
		if (xSem_DMA_SPI2_Done != NULL) xSemaphoreGiveFromISR(xSem_DMA_SPI2_Done, &xHigherPriorityTaskWoken);
	}

	if (xHigherPriorityTaskWoken == pdTRUE) portYIELD_FROM_ISR(xHigherPriorityTaskWoken);
}

void HAL_SPI_ErrorCallback(SPI_HandleTypeDef *hspi) {
	BaseType_t xHigherPriorityTaskWoken = pdFALSE;

	HAL_SPI_DMAStop(hspi);
	__HAL_SPI_DISABLE(hspi);
	__HAL_SPI_ENABLE(hspi);

	if (hspi->Instance == SPI1) {
		if (xSem_DMA_SPI1_Done != NULL) xSemaphoreGiveFromISR(xSem_DMA_SPI1_Done, &xHigherPriorityTaskWoken);
	} else if (hspi->Instance == SPI2) {
		if (xSem_DMA_SPI2_Done != NULL) xSemaphoreGiveFromISR(xSem_DMA_SPI2_Done, &xHigherPriorityTaskWoken);
	}

	if (xHigherPriorityTaskWoken == pdTRUE) portYIELD_FROM_ISR(xHigherPriorityTaskWoken);
}
/* USER CODE END Application */
